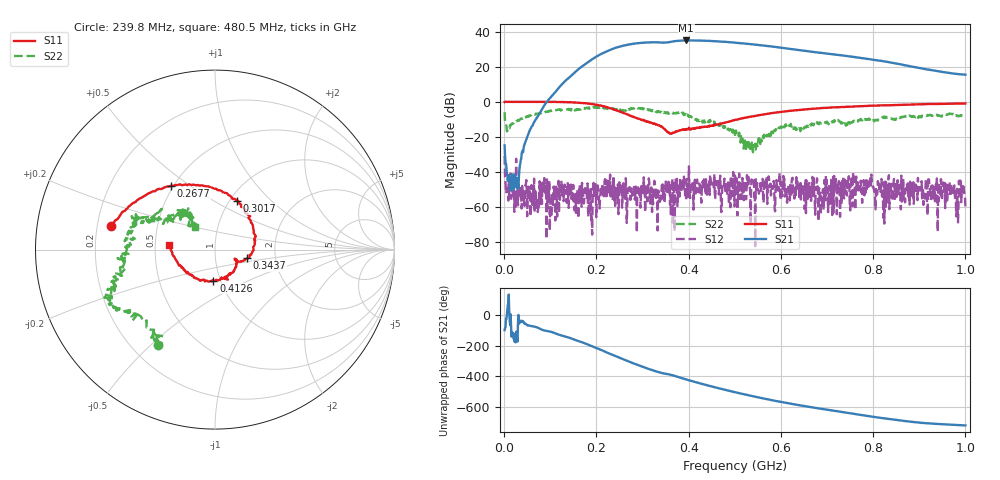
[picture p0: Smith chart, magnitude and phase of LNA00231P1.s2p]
! Created with skrf 1.9.0 (http://scikit-rf.org).
# Hz S RI R 50.0
!freq ReS11 ImS11 ReS21 ImS21 ReS12 ImS12 ReS22 ImS22
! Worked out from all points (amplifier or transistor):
!   1001 points, 1 MHz to 1 GHz, reference 50 ohm
!   highest |S21| = 35.1 dB at 394.6 MHz (marker M1)
!   |S21| within 3 dB of that: 258.5 MHz to 565.3 MHz (306.7 MHz wide, 74.5 % of centre)
!   unconditionally stable (mu >= 1): 2.545 MHz to 92.67 MHz; 237.5 MHz to 400.4 MHz; 400.9 MHz to end of sweep (the widest 3 of 25)
!   at 166.8 MHz: K = 1.62, MAG = 29.2 dB, |S12| = -47.8 dB
!   at 500.5 MHz: K = 1.34, MAG = 34.6 dB, |S12| = -42.2 dB
!   at 1 GHz: K = 14.07, MAG = 23.3 dB, |S12| = -60.2 dB
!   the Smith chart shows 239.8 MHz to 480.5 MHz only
!   S11 on the Smith chart (normalised r, x): 239.8 MHz: 0.26, +0.10; 267.7 MHz: 0.48, +0.42; 301.7 MHz: 1.08, +0.64; 343.7 MHz: 1.43, -0.14; 412.6 MHz: 0.93, -0.33; 480.5 MHz: 0.59, +0.03
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1000000  0.9829 -0.00366  -0.0099 -0.0558  -0.0264 -0.0096  0.325 0.3837
1.07893e8  0.5136 -0.8506  -0.7824 -1.516  0.00302 0.00228  0.4308 -0.3771
1.67833e8  -0.2611 -0.8878  -10.04 -0.426  -0.000916 0.00039  0.0425 -0.6313
2.08792e8  -0.6815 -0.3785  -15.61 16.56  -0.000992 -0.00202  -0.1959 -0.6459
2.39761e8  -0.5791 0.1303  -1.976 34.22  -0.00359 -0.000461  -0.3164 -0.531
2.67733e8  -0.2465 0.3552  21.91 36.61  -0.00317 0.000742  -0.4425 -0.3566
3.01699e8  0.122 0.2717  45.63 17.43  -0.00112 0.0024  -0.5786 -0.201
3.18682e8  0.2074 0.1423  50.3 3.21  -0.00353 0.000383  -0.5519 -0.1455
3.34666e8  0.2157 -0.00211  48.86 -10.25  0.00146 0.00247  -0.511 -0.0669
3.43657e8  0.1787 -0.0485  46.67 -15.8  -0.00416 0.00126  -0.4892 0.00704
3.7063e8  0.119 -0.062  43.48 -32.7  -0.00306 -0.000575  -0.4446 0.1417
3.94606e8  0.0731 -0.1415  28.97 -48.72  -0.000437 -0.00143  -0.4118 0.148
4.12588e8  -0.0085 -0.1724  14.91 -54.29  0.00253 0.00188  -0.2899 0.1432
4.45555e8  -0.1551 -0.1246  -10.69 -53.73  0.00197 -0.000894  -0.1549 0.218
4.8052e8  -0.2551 0.0272  -31.37 -41.15  0.00191 0.00215  -0.1091 0.1261
5.005e8  -0.2707 0.1405  -38.77 -30.45  0.00639 0.00437  -0.0769 0.0825
5.4046e8  -0.1865 0.3384  -42.66 -8.482  0.00545 0.000749  -0.0484 0.0317
5.88412e8  0.0198 0.4898  -34.95 11.68  0.00295 -0.000809  -0.1293 -0.0777
6.67333e8  0.3948 0.4883  -13.48 23.09  -0.00473 -0.000644  -0.2398 -0.0158
7.55245e8  0.6761 0.2789  3.488 18.99  0.000198 -0.001  -0.2583 0.0385
8.34166e8  0.7949 0.0301  9.633 9.563  -0.00792 7.73e-06  -0.3589 0.0216
1e9  0.731 -0.5183  5.94 0.2924  -0.000895 0.000406  -0.2446 0.3113
